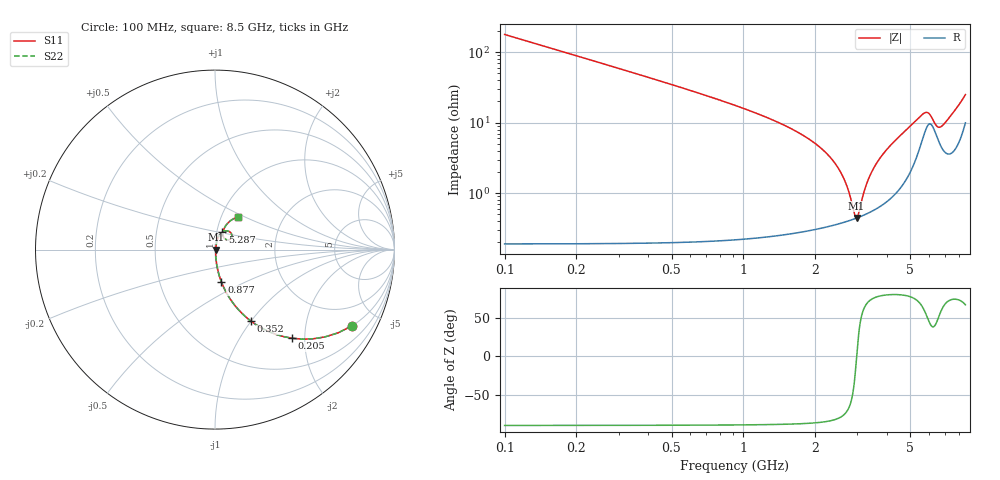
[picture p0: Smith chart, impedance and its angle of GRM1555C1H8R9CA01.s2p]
!Murata Part Number: GRM1555C1H8R9CA01
!These Parameters are Measured in Series Mode Connection
!Data Generated on Mar 30, 2021
!  o--ll--o
!Port1  Port2
!  o------o
!Operation Temp=25[degC], DC Bias Voltage=0[V]
!Freq. Start=100[MHz] Stop=9[GHz] 401[Steps]
# Hz S RI R 50
!Freq.(Hz) S11(Real) S11(Imag) S21(Real) S21(Imag) S12(Real) S12(Imag) S22(Real) S22(Imag)
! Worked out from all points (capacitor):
!   401 points, 100 MHz to 8.5 GHz, reference 50 ohm
!   read as one part in series: C = 8.9 pF near 142 MHz
!   lowest |Z| = 443 mohm at 2.977 GHz (marker M1)
!   series resonance near 2.98 GHz, so ESL is about 320 pH
!   S11 on the Smith chart (normalised r, x): 100 MHz: 1.00, -3.57; 205 MHz: 1.00, -1.74; 352 MHz: 1.00, -1.00; 877 MHz: 1.00, -0.37; 5.287 GHz: 1.06, +0.21; 8.5 GHz: 1.20, +0.46
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1e8  0.7612 -0.4258  0.2388 0.4258  0.2388 0.4258  0.7612 -0.4258
2.05e8  0.4301 -0.494  0.5699 0.494  0.5699 0.494  0.4301 -0.494
3.52e8  0.2017 -0.3994  0.7983 0.3994  0.7983 0.3994  0.2017 -0.3994
5.41e8  0.0945 -0.2894  0.9055 0.2894  0.9055 0.2894  0.0945 -0.2894
8.77e8  0.0357 -0.18  0.9643 0.18  0.9643 0.18  0.0357 -0.18
1.507e9  0.0105 -0.0884  0.9895 0.0884  0.9895 0.0884  0.0105 -0.0884
2.074e9  0.00519 -0.0454  0.9948 0.0454  0.9948 0.0454  0.00519 -0.0454
2.452e9  0.00418 -0.0244  0.9958 0.0244  0.9958 0.0244  0.00418 -0.0244
2.704e9  0.00409 -0.0122  0.9959 0.0122  0.9959 0.0122  0.00409 -0.0122
2.914e9  0.0043 -0.00283  0.9957 0.00283  0.9957 0.00283  0.0043 -0.00283
2.977e9  0.00441 -0.000111  0.9956 0.000111  0.9956 0.000111  0.00441 -0.000111
3.04e9  0.00454 0.00256  0.9955 -0.00256  0.9955 -0.00256  0.00454 0.00256
3.25e9  0.00511 0.0113  0.9949 -0.0113  0.9949 -0.0113  0.00511 0.0113
3.481e9  0.00601 0.0205  0.994 -0.0205  0.994 -0.0205  0.00601 0.0205
3.817e9  0.00789 0.0337  0.9921 -0.0337  0.9921 -0.0337  0.00789 0.0337
4.3e9  0.0123 0.053  0.9877 -0.053  0.9877 -0.053  0.0123 0.053
5.287e9  0.0399 0.0965  0.9601 -0.0965  0.9601 -0.0965  0.0399 0.0965
5.707e9  0.0751 0.1024  0.9249 -0.1024  0.9249 -0.1024  0.0751 0.1024
5.98e9  0.0939 0.0795  0.9061 -0.0795  0.9061 -0.0795  0.0939 0.0795
6.526e9  0.0579 0.0579  0.9421 -0.0579  0.9421 -0.0579  0.0579 0.0579
7.114e9  0.0442 0.0932  0.9558 -0.0932  0.9558 -0.0932  0.0442 0.0932
8.5e9  0.1286 0.1824  0.8714 -0.1824  0.8714 -0.1824  0.1286 0.1824
